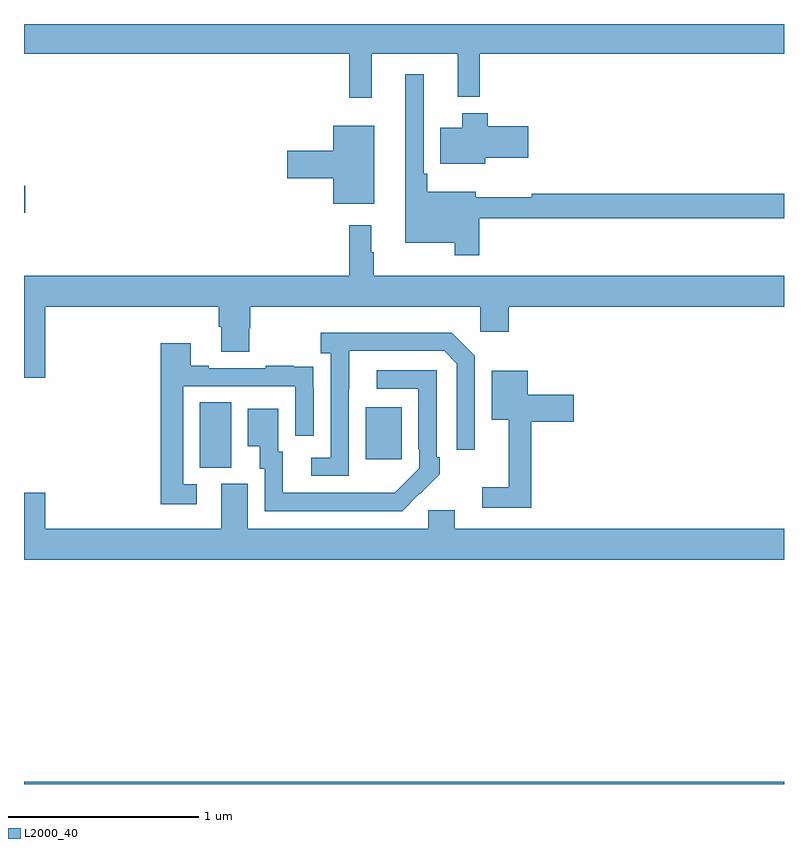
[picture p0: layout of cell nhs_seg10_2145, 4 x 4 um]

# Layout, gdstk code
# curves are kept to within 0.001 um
import gdstk
lib = gdstk.Library(unit=1e-6, precision=1e-09)
def R(c, l, rs):  # rectangles x0, y0, x1, y1
    for r in rs: c.add(gdstk.rectangle(r[:2], r[2:], *l))
def P(c, l, *ps):  # polygons
    for p in ps: c.add(gdstk.Polygon(p, *l))
L2000_40 = (2000, 40)

nhs_seg10_2145 = lib.new_cell('nhs_seg10_2145')
R(nhs_seg10_2145, L2000_40, [(225,1268.5,229,1268.512), (225.926,1270.165,226.09,1270.508), (226.799,1270.209,226.987,1270.483), (225,1271.506,225.007,1271.648)])
P(nhs_seg10_2145, L2000_40, [(226.829,1272.344),(227.282,1272.344),(227.282,1272.116),(227.399,1272.116),(227.399,1272.344),(229,1272.344),(229,1272.5),(225,1272.5),(225,1272.344),(226.711,1272.344),(226.711,1272.111),(226.829,1272.111)],
  [(227.396,1271.478),(229,1271.478),(229,1271.606),(227.673,1271.606),(227.673,1271.588),(227.377,1271.588),(227.377,1271.617),(227.123,1271.617),(227.123,1271.713),(227.103,1271.713),(227.103,1272.235),(227.006,1272.235),(227.006,1271.348),(227.268,1271.348),(227.268,1271.283),(227.396,1271.283)],
  [(227.428,1271.795),(227.653,1271.795),(227.653,1271.961),(227.441,1271.961),(227.441,1272.031),(227.306,1272.031),(227.306,1271.953),(227.192,1271.953),(227.192,1271.765),(227.428,1271.765)],
  [(226.843,1271.965),(226.628,1271.965),(226.628,1271.834),(226.386,1271.834),(226.386,1271.687),(226.628,1271.687),(226.628,1271.555),(226.843,1271.555)],
  [(226.828,1271.3),(226.828,1271.44),(226.711,1271.44),(226.711,1271.176),(225,1271.176),(225,1270.638),(225.112,1270.638),(225.112,1271.012),(226.025,1271.012),(226.025,1270.906),(226.037,1270.906),(226.037,1270.774),(226.185,1270.774),(226.185,1270.899),(226.19,1270.899),(226.19,1271.012),(227.4,1271.012),(227.4,1270.881),(227.552,1270.881),(227.552,1271.012),(229,1271.012),(229,1271.176),(226.84,1271.176),(226.84,1271.3)],
  [(226.71,1270.579),(226.711,1270.779),(227.211,1270.779),(227.277,1270.713),(227.277,1270.26),(227.373,1270.26),(227.373,1270.755),(227.252,1270.876),(226.563,1270.876),(226.563,1270.766),(226.614,1270.766),(226.614,1270.218),(226.512,1270.218),(226.512,1270.122),(226.71,1270.122)],
  [(225.91,1270.077),(225.837,1270.077),(225.837,1270.593),(226.428,1270.593),(226.428,1270.332),(226.524,1270.332),(226.524,1270.586),(226.523,1270.586),(226.523,1270.695),(226.421,1270.695),(226.421,1270.702),(226.273,1270.702),(226.273,1270.689),(225.973,1270.689),(225.973,1270.702),(225.877,1270.702),(225.877,1270.819),(225.721,1270.819),(225.721,1269.972),(225.91,1269.972)],
  [(227.081,1270.027),(227.082,1270.026),(227.187,1270.131),(227.187,1270.219),(227.172,1270.219),(227.172,1270.677),(226.857,1270.677),(226.857,1270.581),(227.076,1270.581),(227.076,1270.261),(227.079,1270.261),(227.079,1270.161),(226.951,1270.033),(226.363,1270.032),(226.363,1270.248),(226.339,1270.248),(226.339,1270.474),(226.178,1270.474),(226.178,1270.277),(226.241,1270.277),(226.241,1270.158),(226.266,1270.158),(226.266,1269.936),(226.99,1269.936)],
  [(227.669,1270.406),(227.893,1270.406),(227.893,1270.548),(227.65,1270.548),(227.65,1270.675),(227.462,1270.675),(227.462,1270.418),(227.552,1270.418),(227.552,1270.063),(227.412,1270.063),(227.412,1269.954),(227.669,1269.954)],
  [(229,1269.844),(227.266,1269.844),(227.266,1269.942),(227.127,1269.942),(227.127,1269.844),(226.177,1269.844),(226.177,1270.08),(226.037,1270.08),(226.037,1269.844),(225.112,1269.844),(225.112,1270.033),(225,1270.033),(225,1269.68),(229,1269.68)])

lib.write_gds('nhs_seg10_2145.gds')
